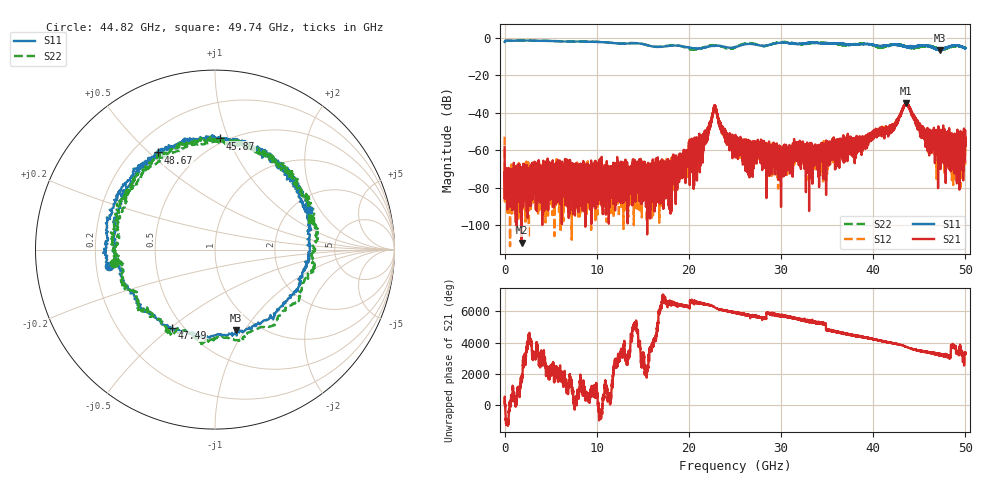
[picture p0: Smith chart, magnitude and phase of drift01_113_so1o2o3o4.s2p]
!Created with skrf (http://scikit-rf.org).
# Hz S RI R 50.0
!freq ReS11 ImS11 ReS21 ImS21 ReS12 ImS12 ReS22 ImS22
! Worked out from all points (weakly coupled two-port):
!   10001 points, 300 kHz to 50 GHz, reference 50 ohm
!   highest |S21| = -34.75 dB at 43.56 GHz (marker M1); lowest = -109.3 dB at 1.85 GHz (marker M2)
!   lowest |S11| = -6.6 dB at 47.21 GHz (marker M3), VSWR 2.74, Z = 39.8 - j45.8 ohm
!   |S11| at or under -10 dB: nowhere
!   |S22| runs from -6.4 to -1.4 dB; largest |S21 - S12| = 0.0039
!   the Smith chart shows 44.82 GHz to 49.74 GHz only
!   S11 on the Smith chart (normalised r, x): 44.82 GHz: 0.25, -0.07; 45.87 GHz: 0.46, +0.93; 47.49 GHz: 0.43, -0.51; 48.67 GHz: 0.30, +0.54; 49.74 GHz: 2.45, +1.59
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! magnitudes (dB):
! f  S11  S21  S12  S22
! 300 kHz  -2.1  -58.4  -52.7  -2.1
! 265.3 MHz  -1.4  -82.0  -78.6  -1.4
! 1.85 GHz  -1.4  -109.3  -91.4  -1.4
! 8.335 GHz  -1.9  -69.9  -84.0  -1.8
! 16.67 GHz  -4.8  -75.0  -72.3  -4.8
! 18 GHz  -4.2  -71.9  -69.0  -4.0
! 21.28 GHz  -5.5  -68.2  -57.6  -5.7
! 22.79 GHz  -4.3  -36.2  -36.3  -4.0
! 23.83 GHz  -4.7  -49.5  -50.7  -5.1
! 25 GHz  -5.0  -56.4  -55.2  -5.0
! 29.76 GHz  -2.6  -69.2  -62.9  -2.4
! 31.61 GHz  -3.2  -62.8  -60.6  -3.1
! 33.34 GHz  -2.6  -67.8  -59.1  -2.7
! 41.67 GHz  -3.9  -48.0  -49.5  -3.9
! 43.56 GHz  -4.7  -34.8  -35.2  -4.8
! 44.82 GHz  -4.5  -45.7  -44.6  -5.0
! 45.87 GHz  -4.2  -52.6  -52.5  -4.3
! 47.21 GHz  -6.6  -51.6  -52.0  -5.8
! 47.49 GHz  -6.0  -55.1  -53.5  -6.2
! 48.67 GHz  -4.1  -55.9  -57.5  -4.6
! 49.74 GHz  -4.9  -54.0  -50.3  -5.0
! 50 GHz  -5.5  -54.6  -53.7  -5.3
